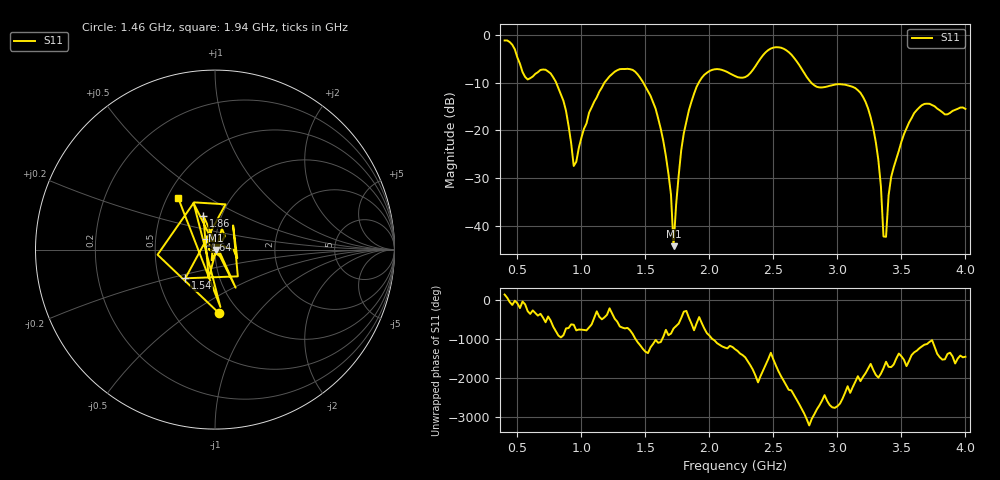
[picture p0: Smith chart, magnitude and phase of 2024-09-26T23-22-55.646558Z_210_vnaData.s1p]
!Created with skrf (http://scikit-rf.org).
# Hz S RI R 50.0
!freq ReS11 ImS11
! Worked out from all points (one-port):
!   181 points, 400 MHz to 4 GHz, reference 50 ohm
!   lowest |S11| = -44.2 dB at 1.72 GHz (marker M1), VSWR 1.01, Z = 50.6 - j0.164 ohm
!   |S11| at or under -10 dB: 802.6 MHz to 1.18 GHz (377.6 MHz wide, 38.1 % of centre); 1.483 GHz to 1.917 GHz (434.4 MHz wide, 25.5 % of centre); 2.795 GHz to end of sweep
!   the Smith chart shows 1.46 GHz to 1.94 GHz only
!   S11 on the Smith chart (normalised r, x): 1.46 GHz: 0.81, -0.65; 1.54 GHz: 0.68, -0.23; 1.64 GHz: 0.89, +0.10; 1.86 GHz: 0.82, +0.32; 1.94 GHz: 0.57, +0.38
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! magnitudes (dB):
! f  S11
! 400 MHz  -1.2
! 560 MHz  -8.8
! 720 MHz  -7.3
! 860 MHz  -13.8
! 940 MHz  -27.4
! 1.1 GHz  -14.0
! 1.3 GHz  -7.2
! 1.46 GHz  -9.0
! 1.54 GHz  -12.8
! 1.64 GHz  -22.2
! 1.7 GHz  -33.5
! 1.72 GHz  -44.2
! 1.76 GHz  -29.4
! 1.86 GHz  -14.0
! 1.94 GHz  -9.0
! 2.2 GHz  -8.6
! 2.5 GHz  -2.7
! 2.66 GHz  -4.8
! 2.84 GHz  -10.9
! 3.1 GHz  -10.7
! 3.28 GHz  -19.5
! 3.34 GHz  -31.7
! 3.36 GHz  -42.2
! 3.38 GHz  -42.3
! 3.42 GHz  -29.8
! 3.56 GHz  -18.4
! 3.68 GHz  -14.5
! 4 GHz  -15.5
